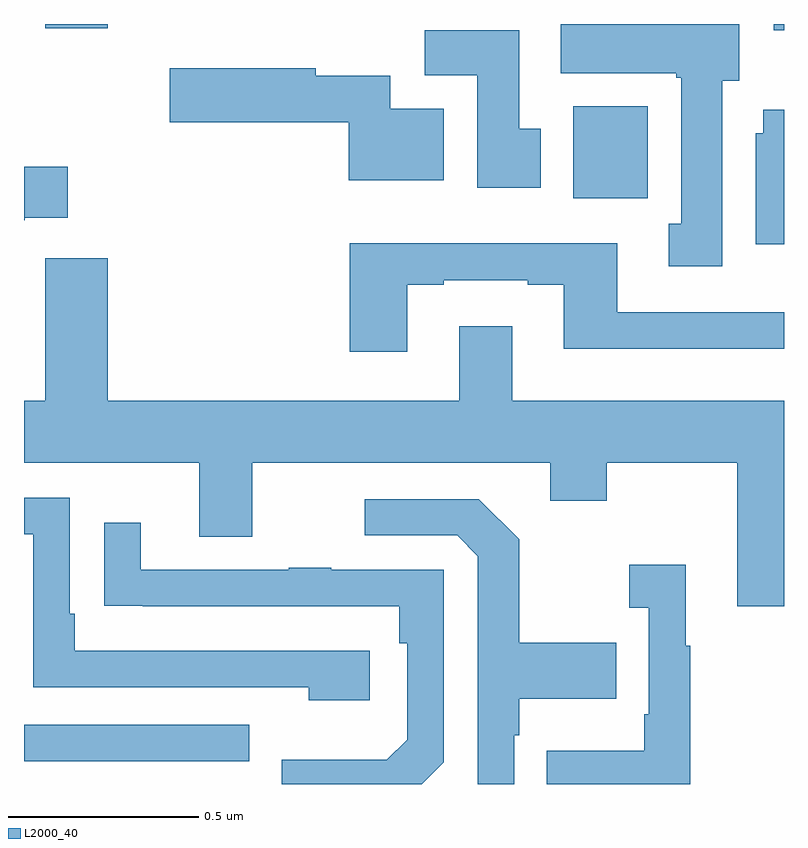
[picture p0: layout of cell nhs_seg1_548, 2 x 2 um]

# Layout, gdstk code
import gdstk
lib = gdstk.Library(unit=1e-6, precision=1e-09)
def R(c, l, rs):  # rectangles x0, y0, x1, y1
    for r in rs: c.add(gdstk.rectangle(r[:2], r[2:], *l))
def P(c, l, *ps):  # polygons
    for p in ps: c.add(gdstk.Polygon(p, *l))
L2000_40 = (2000, 40)

nhs_seg1_548 = lib.new_cell('nhs_seg1_548')
R(nhs_seg1_548, L2000_40, [(117,572.259,117.593,572.355), (118.445,573.74,118.642,573.982), (118.973,574.182,119,574.199), (117.056,574.188,117.22,574.199)])
P(nhs_seg1_548, L2000_40, [(118.837,574.05),(118.882,574.05),(118.882,574.199),(118.413,574.199),(118.413,574.07),(118.717,574.07),(118.717,574.057),(118.73,574.057),(118.73,573.674),(118.697,573.674),(118.697,573.561),(118.837,573.561)],
  [(118.36,573.924),(118.303,573.924),(118.303,574.183),(118.054,574.183),(118.054,574.064),(118.193,574.064),(118.193,573.768),(118.36,573.768)],
  [(118.105,573.976),(117.964,573.976),(117.964,574.063),(117.768,574.063),(117.768,574.083),(117.384,574.083),(117.384,573.941),(117.854,573.941),(117.854,573.788),(118.105,573.788)],
  [(119,573.973),(118.946,573.973),(118.946,573.912),(118.925,573.912),(118.925,573.62),(119,573.62)],
  [(117.002,573.689),(117.115,573.689),(117.115,573.824),(117,573.824),(117,573.682),(117.002,573.682)],
  [(118.009,573.513),(118.105,573.513),(118.105,573.525),(118.325,573.525),(118.325,573.513),(118.421,573.513),(118.421,573.344),(119,573.344),(119,573.441),(118.561,573.441),(118.561,573.622),(117.857,573.622),(117.857,573.336),(118.009,573.336)],
  [(119,573.208),(118.285,573.208),(118.285,573.403),(118.145,573.403),(118.145,573.208),(117.22,573.208),(117.22,573.583),(117.056,573.583),(117.056,573.208),(117,573.208),(117,573.044),(117.461,573.044),(117.461,572.85),(117.601,572.85),(117.601,573.044),(118.385,573.044),(118.385,572.945),(118.533,572.945),(118.533,573.044),(118.877,573.044),(118.877,572.667),(119,572.667)],
  [(117.91,572.55),(117.133,572.55),(117.133,572.647),(117.12,572.647),(117.12,572.952),(117,572.952),(117,572.856),(117.024,572.856),(117.024,572.454),(117.749,572.454),(117.749,572.42),(117.91,572.42)],
  [(118.29,572.327),(118.303,572.327),(118.303,572.423),(118.559,572.423),(118.559,572.571),(118.303,572.571),(118.303,572.843),(118.197,572.949),(117.897,572.949),(117.897,572.853),(118.14,572.853),(118.194,572.799),(118.194,572.199),(118.29,572.199)],
  [(118.104,572.256),(118.104,572.763),(117.809,572.763),(117.809,572.768),(117.697,572.768),(117.697,572.763),(117.307,572.763),(117.307,572.887),(117.211,572.887),(117.211,572.668),(117.313,572.668),(117.313,572.667),(117.988,572.667),(117.988,572.57),(118.008,572.57),(118.008,572.316),(117.955,572.263),(117.678,572.263),(117.678,572.199),(118.047,572.199)],
  [(118.753,572.563),(118.741,572.563),(118.741,572.776),(118.593,572.776),(118.593,572.663),(118.644,572.663),(118.644,572.383),(118.632,572.383),(118.632,572.287),(118.375,572.287),(118.375,572.199),(118.753,572.199)])

lib.write_gds('nhs_seg1_548.gds')
